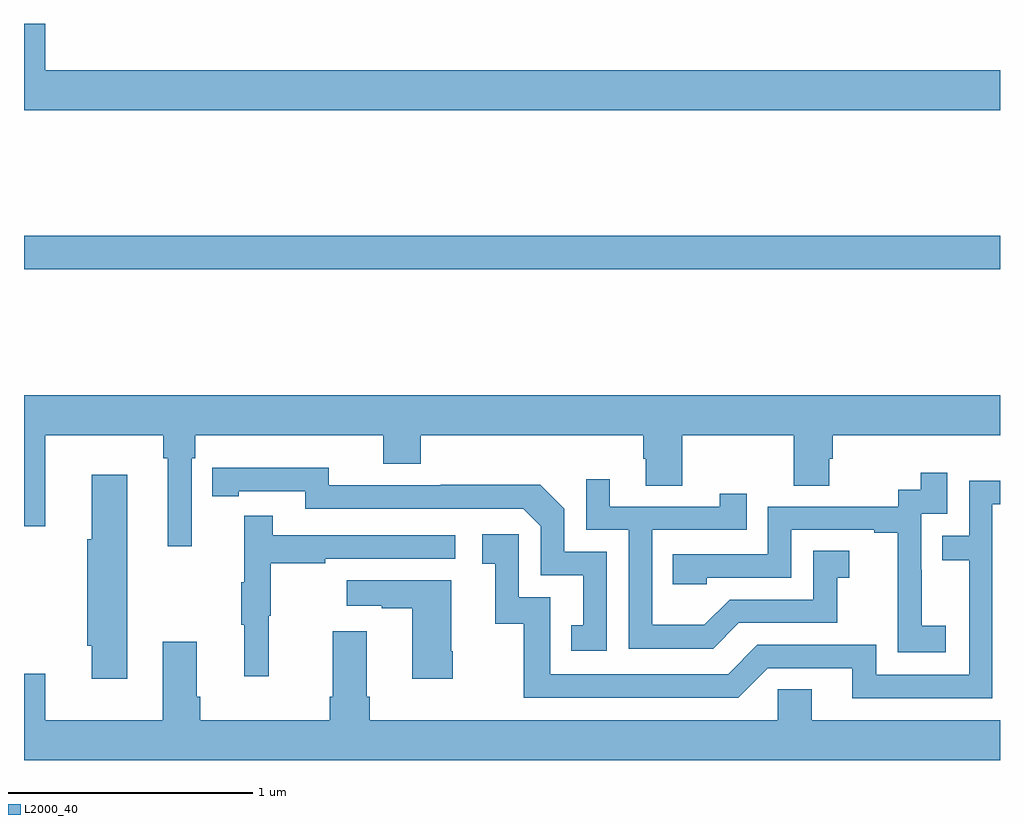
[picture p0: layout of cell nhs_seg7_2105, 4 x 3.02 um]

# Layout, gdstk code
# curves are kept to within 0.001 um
import gdstk
lib = gdstk.Library(unit=1e-6, precision=1e-09)
def R(c, l, rs):  # rectangles x0, y0, x1, y1
    for r in rs: c.add(gdstk.rectangle(r[:2], r[2:], *l))
def P(c, l, *ps):  # polygons
    for p in ps: c.add(gdstk.Polygon(p, *l))
L2000_40 = (2000, 40)

nhs_seg7_2105 = lib.new_cell('nhs_seg7_2105')
R(nhs_seg7_2105, L2000_40, [(249,1058.572,253,1058.708)])
P(nhs_seg7_2105, L2000_40, [(253,1059.388),(249.088,1059.388),(249.088,1059.577),(249,1059.577),(249,1059.224),(253,1059.224)],
  [(249.687,1057.796),(249.701,1057.796),(249.701,1057.892),(250.472,1057.892),(250.472,1057.775),(250.625,1057.775),(250.625,1057.892),(251.537,1057.892),(251.537,1057.794),(251.549,1057.794),(251.549,1057.684),(251.697,1057.684),(251.697,1057.892),(252.154,1057.892),(252.154,1057.684),(252.301,1057.684),(252.301,1057.794),(252.314,1057.794),(252.314,1057.892),(253,1057.892),(253,1058.056),(249,1058.056),(249,1057.518),(249.088,1057.518),(249.088,1057.892),(249.571,1057.892),(249.571,1057.796),(249.59,1057.796),(249.59,1057.437),(249.687,1057.437)],
  [(251.388,1057.413),(251.214,1057.413),(251.214,1057.59),(251.116,1057.688),(250.708,1057.688),(250.708,1057.686),(250.248,1057.686),(250.248,1057.759),(249.772,1057.758),(249.772,1057.642),(249.88,1057.642),(249.88,1057.662),(250.152,1057.662),(250.152,1057.59),(251.046,1057.59),(251.118,1057.518),(251.118,1057.317),(251.291,1057.317),(251.291,1057.113),(251.242,1057.113),(251.242,1057.008),(251.388,1057.008)],
  [(252.778,1057.111),(252.68,1057.111),(252.68,1057.34),(252.678,1057.34),(252.678,1057.569),(252.783,1057.569),(252.783,1057.738),(252.675,1057.738),(252.675,1057.668),(252.582,1057.668),(252.582,1057.599),(252.048,1057.599),(252.048,1057.404),(251.659,1057.404),(251.659,1057.281),(251.799,1057.281),(251.799,1057.308),(252.144,1057.308),(252.144,1057.503),(252.485,1057.503),(252.485,1057.491),(252.581,1057.491),(252.581,1057.207),(252.58,1057.207),(252.58,1057.001),(252.778,1057.001)],
  [(249.424,1057.729),(249.278,1057.729),(249.278,1057.465),(249.26,1057.465),(249.26,1057.029),(249.278,1057.029),(249.278,1056.894),(249.424,1056.894)],
  [(251.929,1057.122),(252.333,1057.122),(252.333,1057.307),(252.382,1057.307),(252.382,1057.417),(252.234,1057.417),(252.234,1057.218),(251.892,1057.218),(251.788,1057.114),(251.574,1057.114),(251.574,1057.503),(251.963,1057.503),(251.963,1057.651),(251.852,1057.651),(251.852,1057.599),(251.401,1057.599),(251.401,1057.711),(251.304,1057.711),(251.304,1057.503),(251.478,1057.503),(251.478,1057.017),(251.824,1057.017)],
  [(252.969,1057.608),(253,1057.608),(253,1057.704),(252.873,1057.704),(252.873,1057.479),(252.763,1057.479),(252.763,1057.378),(252.873,1057.378),(252.873,1056.909),(252.492,1056.909),(252.492,1057.032),(252.006,1057.032),(251.886,1056.912),(251.157,1056.912),(251.157,1057.227),(251.028,1057.227),(251.028,1057.486),(250.878,1057.486),(250.878,1057.365),(250.931,1057.365),(250.931,1057.119),(251.049,1057.119),(251.049,1056.816),(251.928,1056.816),(252.048,1056.936),(252.395,1056.936),(252.395,1056.813),(252.969,1056.813)],
  [(250.004,1057.152),(250.012,1057.152),(250.012,1057.366),(250.235,1057.366),(250.235,1057.386),(250.768,1057.386),(250.768,1057.482),(250.019,1057.482),(250.019,1057.561),(249.902,1057.561),(249.902,1057.289),(249.891,1057.289),(249.891,1057.115),(249.902,1057.115),(249.902,1056.903),(250.004,1056.903)],
  [(250.758,1057.006),(250.75,1057.006),(250.75,1057.297),(250.323,1057.297),(250.323,1057.193),(250.466,1057.193),(250.466,1057.183),(250.592,1057.183),(250.592,1056.894),(250.758,1056.894)],
  [(253,1056.724),(252.229,1056.724),(252.229,1056.851),(252.09,1056.851),(252.09,1056.724),(250.418,1056.724),(250.418,1056.82),(250.405,1056.82),(250.405,1057.087),(250.265,1057.087),(250.265,1056.82),(250.253,1056.82),(250.253,1056.724),(249.722,1056.724),(249.722,1056.82),(249.709,1056.82),(249.709,1057.045),(249.569,1057.045),(249.569,1056.724),(249.088,1056.724),(249.088,1056.913),(249,1056.913),(249,1056.56),(253,1056.56)])

lib.write_gds('nhs_seg7_2105.gds')
